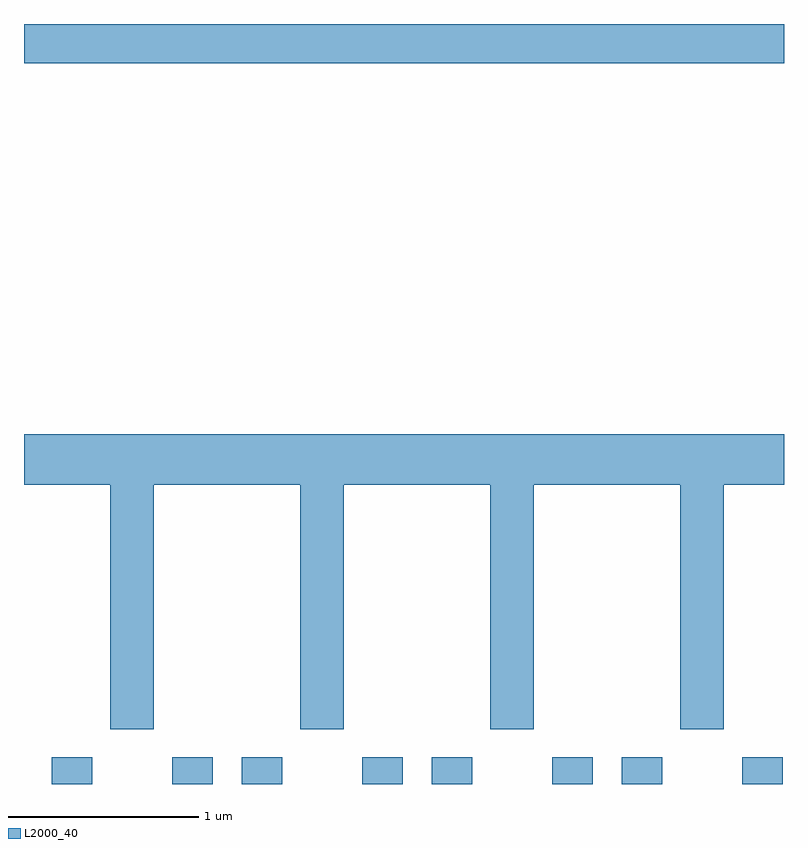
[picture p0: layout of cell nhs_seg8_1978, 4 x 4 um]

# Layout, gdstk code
import gdstk
lib = gdstk.Library(unit=1e-6, precision=1e-09)
def R(c, l, rs):  # rectangles x0, y0, x1, y1
    for r in rs: c.add(gdstk.rectangle(r[:2], r[2:], *l))
def P(c, l, *ps):  # polygons
    for p in ps: c.add(gdstk.Polygon(p, *l))
L2000_40 = (2000, 40)

nhs_seg8_1978 = lib.new_cell('nhs_seg8_1978')
R(nhs_seg8_1978, L2000_40, [(243.756,1890.342,243.969,1890.484), (244.391,1890.342,244.604,1890.484), (244.756,1890.342,244.969,1890.484), (245.391,1890.342,245.604,1890.484), (245.756,1890.342,245.969,1890.484), (246.391,1890.342,246.604,1890.484), (246.756,1890.342,246.969,1890.484), (247.391,1890.342,247.604,1890.484), (243.611,1894.136,247.611,1894.342)])
P(nhs_seg8_1978, L2000_40, [(244.294,1891.916),(245.066,1891.916),(245.066,1890.631),(245.294,1890.631),(245.294,1891.916),(246.066,1891.916),(246.066,1890.631),(246.294,1890.631),(246.294,1891.916),(247.066,1891.916),(247.066,1890.631),(247.294,1890.631),(247.294,1891.916),(247.611,1891.916),(247.611,1892.184),(243.611,1892.184),(243.611,1891.916),(244.066,1891.916),(244.066,1890.631),(244.294,1890.631)])

lib.write_gds('nhs_seg8_1978.gds')
